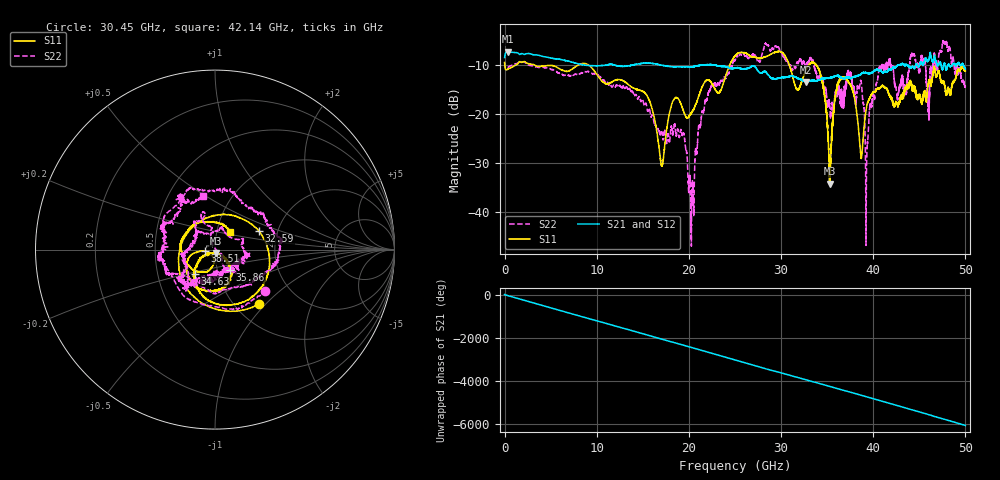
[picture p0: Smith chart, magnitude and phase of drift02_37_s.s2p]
!Created with skrf (http://scikit-rf.org).
# Hz S RI R 50.0
!freq ReS11 ImS11 ReS21 ImS21 ReS12 ImS12 ReS22 ImS22
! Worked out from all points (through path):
!   10001 points, 300 kHz to 50 GHz, reference 50 ohm
!   highest |S21| = -7.31 dB at 325.3 MHz (marker M1); lowest = -13.4 dB at 32.73 GHz (marker M2)
!   group delay of S21, straight-line fit = 335 ps
!   lowest |S11| = -34.2 dB at 35.33 GHz (marker M3), VSWR 1.04, Z = 50.4 - j1.92 ohm
!   |S11| at or under -10 dB: 3.233 GHz to 8.004 GHz (4.771 GHz wide, 84.9 % of centre); 9.104 GHz to 24.42 GHz (15.31 GHz wide, 91.4 % of centre); 33.83 GHz to end of sweep (the widest 3 of 8)
!   |S22| runs from -47.0 to -5.0 dB; largest |S21 - S12| = 0.012
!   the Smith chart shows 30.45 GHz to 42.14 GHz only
!   S11 on the Smith chart (normalised r, x): 30.45 GHz: 1.28, -0.92; 32.59 GHz: 1.60, +0.35; 34.63 GHz: 0.77, -0.21; 35.86 GHz: 1.15, -0.27; 38.51 GHz: 0.90, -0.02; 42.14 GHz: 1.15, +0.23
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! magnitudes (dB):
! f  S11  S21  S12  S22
! 300 kHz  -9.5  -8.5  -8.4  -9.4
! 325.3 MHz  -10.9  -7.3  -7.3  -10.6
! 8.335 GHz  -9.7  -9.9  -9.9  -11.6
! 16.67 GHz  -25.7  -9.9  -9.9  -23.0
! 19.3 GHz  -18.8  -10.4  -10.4  -24.4
! 20.35 GHz  -19.5  -10.4  -10.3  -34.3
! 21.93 GHz  -13.1  -9.9  -10.0  -17.2
! 25 GHz  -8.2  -10.6  -10.6  -9.0
! 30.45 GHz  -8.2  -12.5  -12.5  -8.9
! 32.59 GHz  -11.5  -13.2  -13.4  -10.2
! 32.73 GHz  -10.9  -13.4  -13.5  -10.0
! 33.34 GHz  -9.5  -13.2  -13.2  -9.0
! 34.63 GHz  -15.1  -12.7  -12.7  -14.1
! 35.33 GHz  -34.2  -12.6  -12.5  -19.9
! 35.86 GHz  -17.0  -12.3  -12.3  -15.7
! 37.38 GHz  -13.6  -12.5  -12.5  -12.0
! 38.51 GHz  -25.2  -12.0  -12.0  -14.6
! 39.31 GHz  -18.2  -11.6  -11.6  -28.1
! 41.67 GHz  -15.8  -10.9  -11.1  -9.5
! 42.14 GHz  -18.0  -10.5  -10.5  -10.3
! 47.77 GHz  -14.5  -9.8  -9.7  -5.4
! 50 GHz  -11.2  -10.8  -10.8  -14.3
